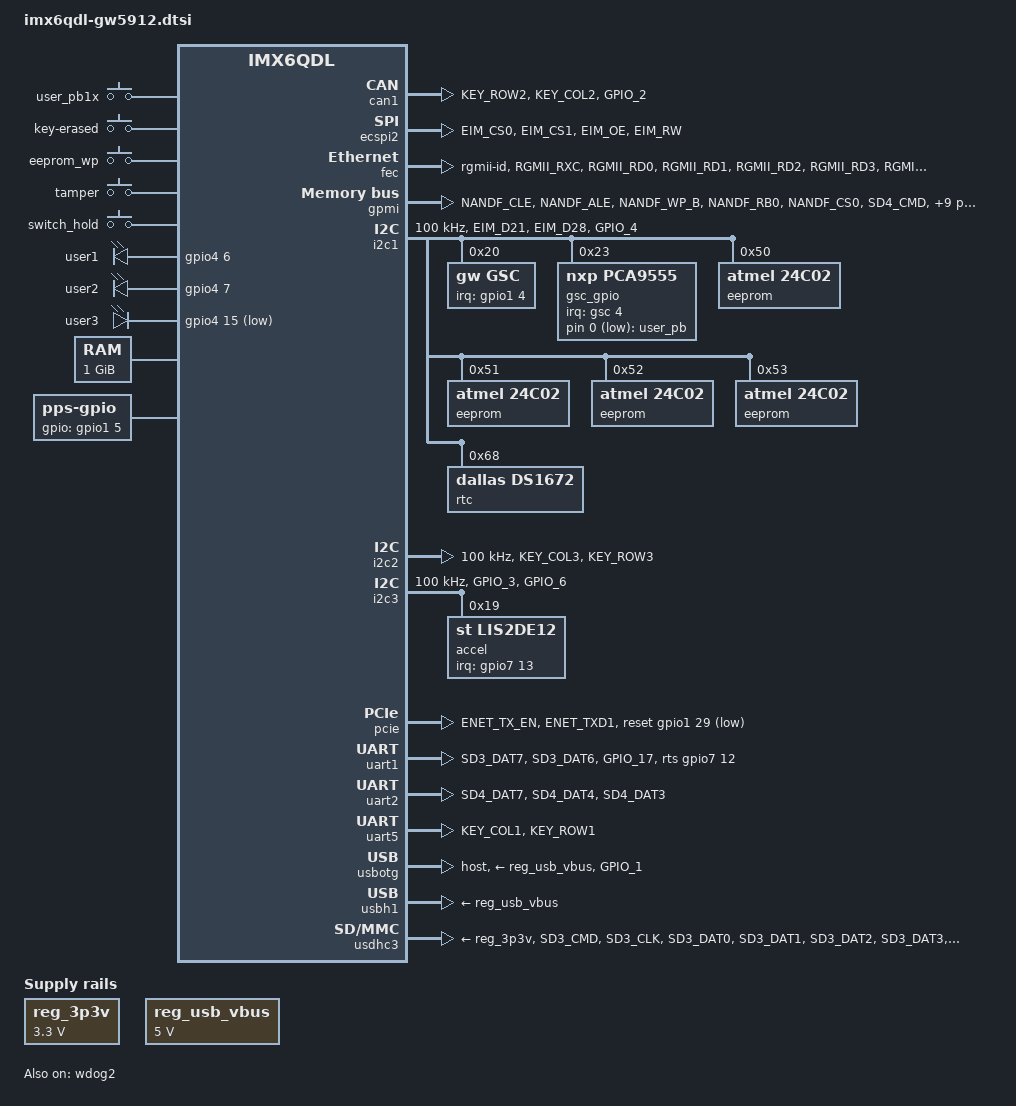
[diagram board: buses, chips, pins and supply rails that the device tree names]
// SPDX-License-Identifier: GPL-2.0
/*
 * Copyright 2019 Gateworks Corporation
 */

#include <dt-bindings/gpio/gpio.h>
#include <dt-bindings/input/linux-event-codes.h>
#include <dt-bindings/interrupt-controller/irq.h>

/ {
	/* these are used by bootloader for disabling nodes */
	aliases {
		led0 = &led0;
		led1 = &led1;
		led2 = &led2;
		nand = &gpmi;
		usb0 = &usbh1;
		usb1 = &usbotg;
	};

	chosen {
		stdout-path = &uart2;
	};

	gpio-keys {
		compatible = "gpio-keys";

		user-pb {
			label = "user_pb";
			gpios = <&gsc_gpio 0 GPIO_ACTIVE_LOW>;
			linux,code = <BTN_0>;
		};

		user-pb1x {
			label = "user_pb1x";
			linux,code = <BTN_1>;
			interrupt-parent = <&gsc>;
			interrupts = <0>;
		};

		key-erased {
			label = "key-erased";
			linux,code = <BTN_2>;
			interrupt-parent = <&gsc>;
			interrupts = <1>;
		};

		eeprom-wp {
			label = "eeprom_wp";
			linux,code = <BTN_3>;
			interrupt-parent = <&gsc>;
			interrupts = <2>;
		};

		tamper {
			label = "tamper";
			linux,code = <BTN_4>;
			interrupt-parent = <&gsc>;
			interrupts = <5>;
		};

		switch-hold {
			label = "switch_hold";
			linux,code = <BTN_5>;
			interrupt-parent = <&gsc>;
			interrupts = <7>;
		};
	};

	leds {
		compatible = "gpio-leds";
		pinctrl-names = "default";
		pinctrl-0 = <&pinctrl_gpio_leds>;

		led0: led-user1 {
			label = "user1";
			gpios = <&gpio4 6 GPIO_ACTIVE_HIGH>; /* MX6_PANLEDG */
			default-state = "on";
			linux,default-trigger = "heartbeat";
		};

		led1: led-user2 {
			label = "user2";
			gpios = <&gpio4 7 GPIO_ACTIVE_HIGH>; /* MX6_PANLEDR */
			default-state = "off";
		};

		led2: led-user3 {
			label = "user3";
			gpios = <&gpio4 15 GPIO_ACTIVE_LOW>; /* MX6_LOCLED# */
			default-state = "off";
		};
	};

	memory@10000000 {
		device_type = "memory";
		reg = <0x10000000 0x40000000>;
	};

	pps {
		compatible = "pps-gpio";
		pinctrl-names = "default";
		pinctrl-0 = <&pinctrl_pps>;
		gpios = <&gpio1 5 GPIO_ACTIVE_HIGH>;
	};

	reg_3p3v: regulator-3p3v {
		compatible = "regulator-fixed";
		regulator-name = "3P3V";
		regulator-min-microvolt = <3300000>;
		regulator-max-microvolt = <3300000>;
		regulator-always-on;
	};

	reg_usb_vbus: regulator-5p0v {
		compatible = "regulator-fixed";
		regulator-name = "usb_vbus";
		regulator-min-microvolt = <5000000>;
		regulator-max-microvolt = <5000000>;
		regulator-always-on;
	};
};

&can1 {
	pinctrl-names = "default";
	pinctrl-0 = <&pinctrl_flexcan1>;
	status = "okay";
};

&ecspi2 {
	cs-gpios = <&gpio2 26 GPIO_ACTIVE_LOW>;
	pinctrl-names = "default";
	pinctrl-0 = <&pinctrl_ecspi2>;
	status = "okay";
};

&fec {
	pinctrl-names = "default";
	pinctrl-0 = <&pinctrl_enet>;
	phy-mode = "rgmii-id";
	status = "okay";
};

&gpmi {
	pinctrl-names = "default";
	pinctrl-0 = <&pinctrl_gpmi_nand>;
	status = "okay";
};

&i2c1 {
	clock-frequency = <100000>;
	pinctrl-names = "default";
	pinctrl-0 = <&pinctrl_i2c1>;
	status = "okay";

	gsc: gsc@20 {
		compatible = "gw,gsc";
		reg = <0x20>;
		interrupt-parent = <&gpio1>;
		interrupts = <4 IRQ_TYPE_LEVEL_LOW>;
		interrupt-controller;
		#interrupt-cells = <1>;
		#address-cells = <1>;
		#size-cells = <0>;

		adc {
			compatible = "gw,gsc-adc";
			#address-cells = <1>;
			#size-cells = <0>;

			channel@0 {
				gw,mode = <0>;
				reg = <0x00>;
				label = "temp";
			};

			channel@2 {
				gw,mode = <1>;
				reg = <0x02>;
				label = "vdd_vin";
			};

			channel@5 {
				gw,mode = <1>;
				reg = <0x05>;
				label = "vdd_3p3";
			};

			channel@8 {
				gw,mode = <1>;
				reg = <0x08>;
				label = "vdd_bat";
			};

			channel@b {
				gw,mode = <1>;
				reg = <0x0b>;
				label = "vdd_5p0";
			};

			channel@e {
				gw,mode = <1>;
				reg = <0xe>;
				label = "vdd_arm";
			};

			channel@11 {
				gw,mode = <1>;
				reg = <0x11>;
				label = "vdd_soc";
			};

			channel@14 {
				gw,mode = <1>;
				reg = <0x14>;
				label = "vdd_3p0";
			};

			channel@17 {
				gw,mode = <1>;
				reg = <0x17>;
				label = "vdd_1p5";
			};

			channel@1d {
				gw,mode = <1>;
				reg = <0x1d>;
				label = "vdd_1p8";
			};

			channel@20 {
				gw,mode = <1>;
				reg = <0x20>;
				label = "vdd_1p0";
			};

			channel@23 {
				gw,mode = <1>;
				reg = <0x23>;
				label = "vdd_2p5";
			};
		};

		fan-controller@a {
			compatible = "gw,gsc-fan";
			#address-cells = <1>;
			#size-cells = <0>;
			reg = <0x0a>;
		};
	};

	gsc_gpio: gpio@23 {
		compatible = "nxp,pca9555";
		reg = <0x23>;
		gpio-controller;
		#gpio-cells = <2>;
		interrupt-parent = <&gsc>;
		interrupts = <4>;
	};

	eeprom@50 {
		compatible = "atmel,24c02";
		reg = <0x50>;
		pagesize = <16>;
	};

	eeprom@51 {
		compatible = "atmel,24c02";
		reg = <0x51>;
		pagesize = <16>;
	};

	eeprom@52 {
		compatible = "atmel,24c02";
		reg = <0x52>;
		pagesize = <16>;
	};

	eeprom@53 {
		compatible = "atmel,24c02";
		reg = <0x53>;
		pagesize = <16>;
	};

	rtc@68 {
		compatible = "dallas,ds1672";
		reg = <0x68>;
	};
};

&i2c2 {
	clock-frequency = <100000>;
	pinctrl-names = "default";
	pinctrl-0 = <&pinctrl_i2c2>;
	status = "okay";
};

&i2c3 {
	clock-frequency = <100000>;
	pinctrl-names = "default";
	pinctrl-0 = <&pinctrl_i2c3>;
	status = "okay";

	accel@19 {
		pinctrl-names = "default";
		pinctrl-0 = <&pinctrl_accel>;
		compatible = "st,lis2de12";
		reg = <0x19>;
		st,drdy-int-pin = <1>;
		interrupt-parent = <&gpio7>;
		interrupts = <13 0>;
		interrupt-names = "INT1";
	};
};

&pcie {
	pinctrl-names = "default";
	pinctrl-0 = <&pinctrl_pcie>;
	reset-gpio = <&gpio1 29 GPIO_ACTIVE_LOW>;
	status = "okay";
};

&pwm1 {
	pinctrl-names = "default";
	pinctrl-0 = <&pinctrl_pwm1>; /* MX6_DIO0 */
	status = "disabled";
};

&pwm2 {
	pinctrl-names = "default";
	pinctrl-0 = <&pinctrl_pwm2>; /* MX6_DIO1 */
	status = "disabled";
};

&pwm3 {
	pinctrl-names = "default";
	pinctrl-0 = <&pinctrl_pwm3>; /* MX6_DIO2 */
	status = "disabled";
};

&pwm4 {
	pinctrl-names = "default";
	pinctrl-0 = <&pinctrl_pwm4>; /* MX6_DIO3 */
	status = "disabled";
};

&uart1 {
	pinctrl-names = "default";
	pinctrl-0 = <&pinctrl_uart1>;
	rts-gpios = <&gpio7 12 GPIO_ACTIVE_HIGH>;
	status = "okay";
};

&uart2 {
	pinctrl-names = "default";
	pinctrl-0 = <&pinctrl_uart2>;
	status = "okay";
};

&uart5 {
	pinctrl-names = "default";
	pinctrl-0 = <&pinctrl_uart5>;
	status = "okay";
};

&usbotg {
	vbus-supply = <&reg_usb_vbus>;
	pinctrl-names = "default";
	pinctrl-0 = <&pinctrl_usbotg>;
	disable-over-current;
	dr_mode = "host";
	status = "okay";
};

&usbh1 {
	vbus-supply = <&reg_usb_vbus>;
	status = "okay";
};

&usdhc3 {
	pinctrl-names = "default", "state_100mhz", "state_200mhz";
	pinctrl-0 = <&pinctrl_usdhc3>;
	pinctrl-1 = <&pinctrl_usdhc3_100mhz>;
	pinctrl-2 = <&pinctrl_usdhc3_200mhz>;
	cd-gpios = <&gpio7 0 GPIO_ACTIVE_LOW>;
	vmmc-supply = <&reg_3p3v>;
	no-1-8-v; /* firmware will remove if board revision supports */
	status = "okay";
};

&wdog1 {
	status = "disabled";
};

&wdog2 {
	pinctrl-names = "default";
	pinctrl-0 = <&pinctrl_wdog>;
	fsl,ext-reset-output;
	status = "okay";
};

&iomuxc {
	pinctrl_accel: accelmuxgrp {
		fsl,pins = <
			MX6QDL_PAD_GPIO_18__GPIO7_IO13		0x1b0b1
		>;
	};

	pinctrl_enet: enetgrp {
		fsl,pins = <
			MX6QDL_PAD_RGMII_RXC__RGMII_RXC		0x1b030
			MX6QDL_PAD_RGMII_RD0__RGMII_RD0		0x1b030
			MX6QDL_PAD_RGMII_RD1__RGMII_RD1		0x1b030
			MX6QDL_PAD_RGMII_RD2__RGMII_RD2		0x1b030
			MX6QDL_PAD_RGMII_RD3__RGMII_RD3		0x1b030
			MX6QDL_PAD_RGMII_RX_CTL__RGMII_RX_CTL	0x1b030
			MX6QDL_PAD_RGMII_TXC__RGMII_TXC		0x1b030
			MX6QDL_PAD_RGMII_TD0__RGMII_TD0		0x1b030
			MX6QDL_PAD_RGMII_TD1__RGMII_TD1		0x1b030
			MX6QDL_PAD_RGMII_TD2__RGMII_TD2		0x1b030
			MX6QDL_PAD_RGMII_TD3__RGMII_TD3		0x1b030
			MX6QDL_PAD_RGMII_TX_CTL__RGMII_TX_CTL	0x1b030
			MX6QDL_PAD_ENET_REF_CLK__ENET_TX_CLK	0x1b0b0
			MX6QDL_PAD_ENET_MDIO__ENET_MDIO		0x1b0b0
			MX6QDL_PAD_ENET_MDC__ENET_MDC		0x1b0b0
		>;
	};

	pinctrl_ecspi2: escpi2grp {
		fsl,pins = <
			MX6QDL_PAD_EIM_CS0__ECSPI2_SCLK	0x100b1
			MX6QDL_PAD_EIM_CS1__ECSPI2_MOSI	0x100b1
			MX6QDL_PAD_EIM_OE__ECSPI2_MISO	0x100b1
			MX6QDL_PAD_EIM_RW__GPIO2_IO26	0x100b1
		>;
	};

	pinctrl_flexcan1: flexcan1grp {
		fsl,pins = <
			MX6QDL_PAD_KEY_ROW2__FLEXCAN1_RX	0x1b0b1
			MX6QDL_PAD_KEY_COL2__FLEXCAN1_TX	0x1b0b1
			MX6QDL_PAD_GPIO_2__GPIO1_IO02		0x4001b0b0
		>;
	};

	pinctrl_gpio_leds: gpioledsgrp {
		fsl,pins = <
			MX6QDL_PAD_KEY_COL0__GPIO4_IO06		0x1b0b0
			MX6QDL_PAD_KEY_ROW0__GPIO4_IO07		0x1b0b0
			MX6QDL_PAD_KEY_ROW4__GPIO4_IO15		0x1b0b0
		>;
	};

	pinctrl_gpmi_nand: gpminandgrp {
		fsl,pins = <
			MX6QDL_PAD_NANDF_CLE__NAND_CLE		0xb0b1
			MX6QDL_PAD_NANDF_ALE__NAND_ALE		0xb0b1
			MX6QDL_PAD_NANDF_WP_B__NAND_WP_B	0xb0b1
			MX6QDL_PAD_NANDF_RB0__NAND_READY_B	0xb000
			MX6QDL_PAD_NANDF_CS0__NAND_CE0_B	0xb0b1
			MX6QDL_PAD_SD4_CMD__NAND_RE_B		0xb0b1
			MX6QDL_PAD_SD4_CLK__NAND_WE_B		0xb0b1
			MX6QDL_PAD_NANDF_D0__NAND_DATA00	0xb0b1
			MX6QDL_PAD_NANDF_D1__NAND_DATA01	0xb0b1
			MX6QDL_PAD_NANDF_D2__NAND_DATA02	0xb0b1
			MX6QDL_PAD_NANDF_D3__NAND_DATA03	0xb0b1
			MX6QDL_PAD_NANDF_D4__NAND_DATA04	0xb0b1
			MX6QDL_PAD_NANDF_D5__NAND_DATA05	0xb0b1
			MX6QDL_PAD_NANDF_D6__NAND_DATA06	0xb0b1
			MX6QDL_PAD_NANDF_D7__NAND_DATA07	0xb0b1
		>;
	};

	pinctrl_i2c1: i2c1grp {
		fsl,pins = <
			MX6QDL_PAD_EIM_D21__I2C1_SCL		0x4001b8b1
			MX6QDL_PAD_EIM_D28__I2C1_SDA		0x4001b8b1
			MX6QDL_PAD_GPIO_4__GPIO1_IO04		0x0001b0b0
		>;
	};

	pinctrl_i2c2: i2c2grp {
		fsl,pins = <
			MX6QDL_PAD_KEY_COL3__I2C2_SCL		0x4001b8b1
			MX6QDL_PAD_KEY_ROW3__I2C2_SDA		0x4001b8b1
		>;
	};

	pinctrl_i2c3: i2c3grp {
		fsl,pins = <
			MX6QDL_PAD_GPIO_3__I2C3_SCL		0x4001b8b1
			MX6QDL_PAD_GPIO_6__I2C3_SDA		0x4001b8b1
		>;
	};

	pinctrl_pcie: pciegrp {
		fsl,pins = <
			MX6QDL_PAD_ENET_TX_EN__GPIO1_IO28	0x1b0b0
			MX6QDL_PAD_ENET_TXD1__GPIO1_IO29	0x1b0b0
		>;
	};

	pinctrl_pps: ppsgrp {
		fsl,pins = <
			MX6QDL_PAD_GPIO_5__GPIO1_IO05		0x1b0b1
		>;
	};

	pinctrl_pwm1: pwm1grp {
		fsl,pins = <
			MX6QDL_PAD_GPIO_9__PWM1_OUT		0x1b0b1
		>;
	};

	pinctrl_pwm2: pwm2grp {
		fsl,pins = <
			MX6QDL_PAD_SD1_DAT2__PWM2_OUT		0x1b0b1
		>;
	};

	pinctrl_pwm3: pwm3grp {
		fsl,pins = <
			MX6QDL_PAD_SD4_DAT1__PWM3_OUT		0x1b0b1
		>;
	};

	pinctrl_pwm4: pwm4grp {
		fsl,pins = <
			MX6QDL_PAD_SD4_DAT2__PWM4_OUT		0x1b0b1
		>;
	};

	pinctrl_uart1: uart1grp {
		fsl,pins = <
			MX6QDL_PAD_SD3_DAT7__UART1_TX_DATA	0x1b0b1
			MX6QDL_PAD_SD3_DAT6__UART1_RX_DATA	0x1b0b1
			MX6QDL_PAD_GPIO_17__GPIO7_IO12		0x4001b0b1
		>;
	};

	pinctrl_uart2: uart2grp {
		fsl,pins = <
			MX6QDL_PAD_SD4_DAT7__UART2_TX_DATA	0x1b0b1
			MX6QDL_PAD_SD4_DAT4__UART2_RX_DATA	0x1b0b1
			MX6QDL_PAD_SD4_DAT3__GPIO2_IO11		0x4001b0b1
		>;
	};

	pinctrl_uart5: uart5grp {
		fsl,pins = <
			MX6QDL_PAD_KEY_COL1__UART5_TX_DATA	0x1b0b1
			MX6QDL_PAD_KEY_ROW1__UART5_RX_DATA	0x1b0b1
		>;
	};

	pinctrl_usbotg: usbotggrp {
		fsl,pins = <
			MX6QDL_PAD_GPIO_1__USB_OTG_ID		0x13059
		>;
	};

	pinctrl_usdhc3: usdhc3grp {
		fsl,pins = <
			MX6QDL_PAD_SD3_CMD__SD3_CMD		0x17059
			MX6QDL_PAD_SD3_CLK__SD3_CLK		0x10059
			MX6QDL_PAD_SD3_DAT0__SD3_DATA0		0x17059
			MX6QDL_PAD_SD3_DAT1__SD3_DATA1		0x17059
			MX6QDL_PAD_SD3_DAT2__SD3_DATA2		0x17059
			MX6QDL_PAD_SD3_DAT3__SD3_DATA3		0x17059
			MX6QDL_PAD_SD3_DAT5__GPIO7_IO00		0x17059 /* CD */
			MX6QDL_PAD_NANDF_CS1__SD3_VSELECT	0x17059
		>;
	};

	pinctrl_usdhc3_100mhz: usdhc3grp100mhz {
		fsl,pins = <
			MX6QDL_PAD_SD3_CMD__SD3_CMD		0x170b9
			MX6QDL_PAD_SD3_CLK__SD3_CLK		0x100b9
			MX6QDL_PAD_SD3_DAT0__SD3_DATA0		0x170b9
			MX6QDL_PAD_SD3_DAT1__SD3_DATA1		0x170b9
			MX6QDL_PAD_SD3_DAT2__SD3_DATA2		0x170b9
			MX6QDL_PAD_SD3_DAT3__SD3_DATA3		0x170b9
			MX6QDL_PAD_SD3_DAT5__GPIO7_IO00		0x170b9 /* CD */
			MX6QDL_PAD_NANDF_CS1__SD3_VSELECT	0x170b9
		>;
	};

	pinctrl_usdhc3_200mhz: usdhc3grp200mhz {
		fsl,pins = <
			MX6QDL_PAD_SD3_CMD__SD3_CMD		0x170f9
			MX6QDL_PAD_SD3_CLK__SD3_CLK		0x100f9
			MX6QDL_PAD_SD3_DAT0__SD3_DATA0		0x170f9
			MX6QDL_PAD_SD3_DAT1__SD3_DATA1		0x170f9
			MX6QDL_PAD_SD3_DAT2__SD3_DATA2		0x170f9
			MX6QDL_PAD_SD3_DAT3__SD3_DATA3		0x170f9
			MX6QDL_PAD_SD3_DAT5__GPIO7_IO00		0x170f9 /* CD */
			MX6QDL_PAD_NANDF_CS1__SD3_VSELECT	0x170f9
		>;
	};

	pinctrl_wdog: wdoggrp {
		fsl,pins = <
			MX6QDL_PAD_SD1_DAT3__WDOG2_B		0x1b0b0
		>;
	};
};
